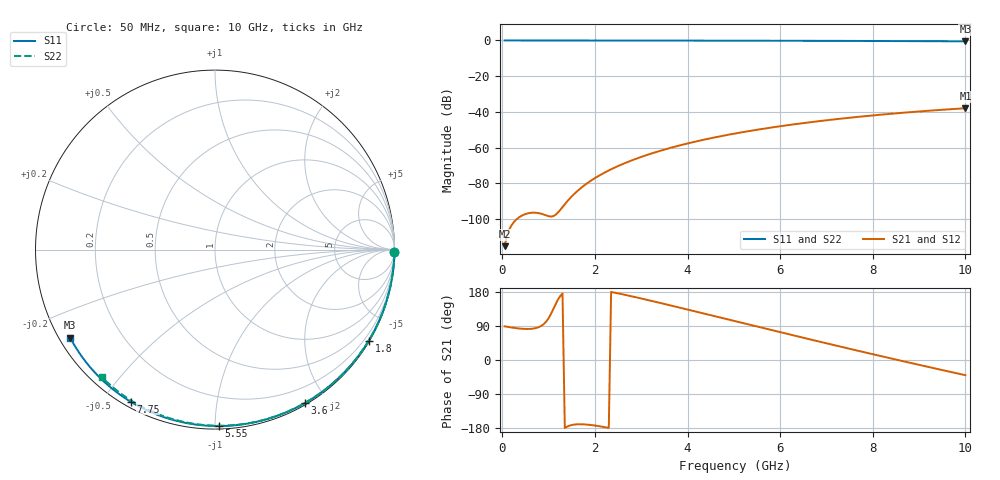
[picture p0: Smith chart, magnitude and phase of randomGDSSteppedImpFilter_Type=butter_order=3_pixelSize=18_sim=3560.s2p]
! freq	dB(S11)	phase(S11)	dB(S12)	phase(S12)
!  dB(S21)	phase(S21)	dB(S22)	phase(S22)
!S-par simulation data
#  GHz  S  DB  R 50
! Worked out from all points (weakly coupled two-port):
!   200 points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, 50 MHz to 10 GHz, reference 50 ohm
!   highest |S21| = -37.98 dB at 10 GHz (marker M1); lowest = -115.3 dB at 50 MHz (marker M2)
!   lowest |S11| = -0.5 dB at 10 GHz (marker M3), VSWR 34.96, Z = 1.54 - j14 ohm
!   |S11| at or under -10 dB: nowhere
!   |S22| runs from -0.4 to 0.0 dB; largest |S21 - S12| = 0
!   S11 on the Smith chart (normalised r, x): 50 MHz: open; 1.8 GHz: 0.03, -3.66; 3.6 GHz: 0.02, -1.74; 5.55 GHz: 0.02, -1.02; 7.75 GHz: 0.02, -0.59; 10 GHz: 0.03, -0.28
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0.05  -0.00 -0.9  -115.26 88.9  -115.26 88.9  -0.00 -0.8
0.45  -0.01 -7.8  -97.79 82.2  -97.79 82.2  -0.01 -6.8
0.9  -0.02 -15.5  -97.57 95.3  -97.57 95.3  -0.02 -13.6
1.3  -0.03 -22.2  -93.35 175.5  -93.35 175.5  -0.02 -19.6
1.75  -0.04 -29.8  -81.60 -169.8  -81.60 -169.8  -0.03 -26.2
1.8  -0.04 -30.6  -80.62 -170.2  -80.62 -170.2  -0.03 -26.9
1.85  -0.04 -31.4  -79.69 -170.7  -79.69 -170.7  -0.04 -27.7
2.05  -0.04 -34.7  -76.34 -173.8  -76.34 -173.8  -0.04 -30.6
2.25  -0.05 -38.0  -73.48 -178.0  -73.48 -178.0  -0.04 -33.5
2.55  -0.05 -42.9  -69.79 174.6  -69.79 174.6  -0.05 -37.8
2.95  -0.06 -49.4  -65.70 163.8  -65.70 163.8  -0.06 -43.6
3.4  -0.07 -56.5  -61.89 150.9  -61.89 150.9  -0.07 -49.9
3.6  -0.08 -59.6  -60.40 145.0  -60.40 145.0  -0.07 -52.7
4.3  -0.10 -70.4  -55.90 124.2  -55.90 124.2  -0.09 -62.2
5.05  -0.12 -81.5  -52.02 101.7  -52.02 101.7  -0.11 -72.2
5.55  -0.14 -88.8  -49.83 86.7  -49.83 86.7  -0.13 -78.7
6.1  -0.17 -96.5  -47.69 70.4  -47.69 70.4  -0.15 -85.6
6.7  -0.20 -104.9  -45.65 52.8  -45.65 52.8  -0.18 -93.1
7.75  -0.27 -119.0  -42.63 22.4  -42.63 22.4  -0.24 -105.7
8.35  -0.32 -127.0  -41.17 5.3  -41.17 5.3  -0.29 -112.7
9.2  -0.41 -138.2  -39.39 -18.3  -39.39 -18.3  -0.36 -122.4
10  -0.50 -148.7  -37.98 -40.1  -37.98 -40.1  -0.45 -131.5
